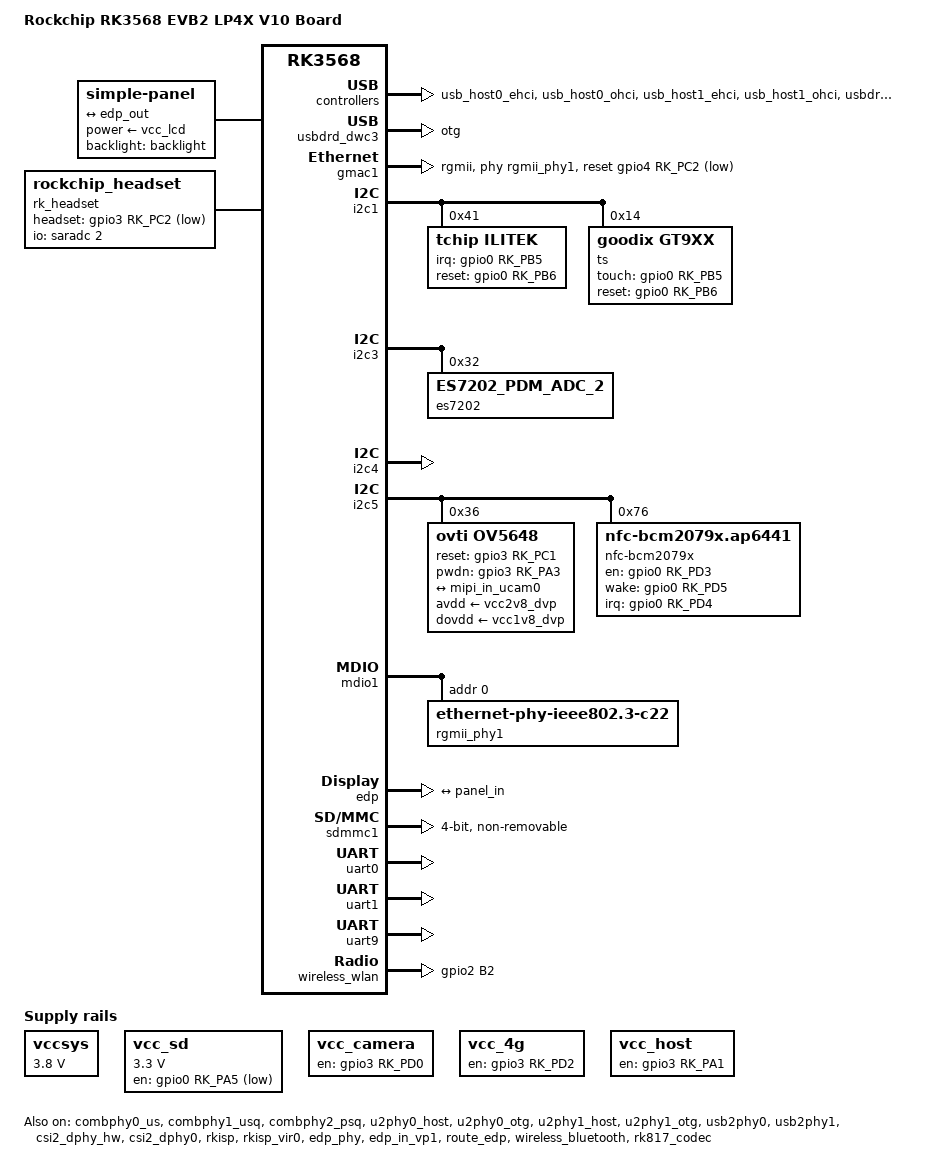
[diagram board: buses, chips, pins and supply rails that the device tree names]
// SPDX-License-Identifier: (GPL-2.0+ OR MIT)
/*
 * Copyright (c) 2020 Rockchip Electronics Co., Ltd.
 *
 */

/dts-v1/;

#include <dt-bindings/gpio/gpio.h>
#include <dt-bindings/pinctrl/rockchip.h>
#include "rk3568.dtsi"
#include "rk3568-evb-r89.dtsi"
#include "rk3568-android.dtsi"

/ {
	model = "Rockchip RK3568 EVB2 LP4X V10 Board";
	compatible = "rockchip,rk3568-evb2-lp4x-v10", "rockchip,rk3568";
	panel: panel {
		compatible = "simple-panel";
		backlight = <&backlight>;
		power-supply = <&vcc_lcd>;
		//enable-gpios = <&gpio3 RK_PD4 GPIO_ACTIVE_HIGH>;
		//pinctrl-names = "default";
		//pinctrl-0 = <&lcd_enable_gpio>;
		
		reset-delay-ms = <60>;
		enable-delay-ms = <120>;
		prepare-delay-ms = <60>;
		unprepare-delay-ms = <60>;
		disable-delay-ms = <60>;
		
		//bpc = <8>;		
		//bus-format = <MEDIA_BUS_FMT_RGB888_1X24>;
		
		bpc = <6>;
		bus-format = <MEDIA_BUS_FMT_RGB666_1X18>;
		
		display-timings {
			native-mode = <&timing3>;
			
			timing0: timing0 {				
				clock-frequency = <138500000>;
				hactive = <1920>;
				vactive = <1080>;
				hfront-porch = <134>;
				hsync-len = <26>;
				hback-porch = <24>;
				vfront-porch = <16>;
				vsync-len = <6>;
				vback-porch = <14>;
				hsync-active = <0>;
				vsync-active = <0>;
				de-active = <0>;
				pixelclk-active = <0>;
			};
		
			//N61 ERWEIMA
			timing1: timing1 {
				clock-frequency = <135000000>;
				hactive = <1920>;
				vactive = <1080>;
				hfront-porch = <160>;
				hsync-len = <10>;
				hback-porch = <160>;
				vfront-porch = <21>;
				vsync-len = <10>;
				vback-porch = <21>;
				hsync-active = <0>;
				vsync-active = <0>;
				de-active = <0>;
				pixelclk-active = <0>;
			};	
				
			timing2: timing2 {																			
				clock-frequency = <148000000>;		
				hactive = <1920>;
				vactive = <1080>;										
				hback-porch = <50>;
				hfront-porch = <134>;
				vback-porch = <20>;
				vfront-porch = <20>;																
				hsync-len = <36>;
				vsync-len = <6>;								
				hsync-active = <0>;
				vsync-active = <0>;
				de-active = <0>;
				pixelclk-active = <0>;
				swap-rb = <0>;
				swap-rg = <0>;
				swap-gb = <0>;								
			};
			
			//NV140FHM-N4F=B140HAN03.9 
			timing3: timing3 {
				clock-frequency = <138000000>;
				hactive = <1920>;
				vactive = <1080>;
				hback-porch = <48>;
				hfront-porch = <210>;
				vback-porch = <20>;
				vfront-porch = <30>;																
				hsync-len = <52>;
				vsync-len = <10>;								
				hsync-active = <0>;
				vsync-active = <0>;

				de-active = <0>;
				pixelclk-active = <0>;
			};
		};

		ports {
			panel_in: endpoint {
				remote-endpoint = <&edp_out>;
			};
		};
	};
	
	rk_headset: rk-headset {
		compatible = "rockchip_headset";
		headset_gpio = <&gpio3 RK_PC2 GPIO_ACTIVE_LOW>;
		pinctrl-names = "default";
		pinctrl-0 = <&hp_det>;
		io-channels = <&saradc 2>;
	};

	/*vcc2v5_sys: vcc2v5-ddr {
		compatible = "regulator-fixed";
		regulator-name = "vcc2v5-sys";
		regulator-always-on;
		regulator-boot-on;
		regulator-min-microvolt = <2500000>;
		regulator-max-microvolt = <2500000>;
		vin-supply = <&vcc3v3_sys>;
	};*/

	/*pcie20_3v3: gpio-regulator {
		compatible = "regulator-gpio";
		regulator-name = "pcie20_3v3";
		regulator-min-microvolt = <100000>;
		regulator-max-microvolt = <3300000>;
		gpios = <&gpio0 RK_PD4 GPIO_ACTIVE_HIGH>;
		gpios-states = <0x1>;
		states = <100000 0x0
			  3300000 0x1>;
	};

	pcie30_avdd0v9: pcie30-avdd0v9 {
		compatible = "regulator-fixed";
		regulator-name = "pcie30_avdd0v9";
		regulator-always-on;
		regulator-boot-on;
		regulator-min-microvolt = <900000>;
		regulator-max-microvolt = <900000>;
		vin-supply = <&vcc3v3_sys>;
	};

	pcie30_avdd1v8: pcie30-avdd1v8 {
		compatible = "regulator-fixed";
		regulator-name = "pcie30_avdd1v8";
		regulator-always-on;
		regulator-boot-on;
		regulator-min-microvolt = <1800000>;
		regulator-max-microvolt = <1800000>;
		vin-supply = <&vcc3v3_sys>;
	};

	pcie30_3v3: gpio-regulator {
		compatible = "regulator-gpio";
		regulator-name = "pcie30_3v3";
		regulator-min-microvolt = <100000>;
		regulator-max-microvolt = <3300000>;
		gpios = <&gpio0 RK_PD4 GPIO_ACTIVE_HIGH>;
		gpios-states = <0x1>;
		states = <100000 0x0
			  3300000 0x1>;
	};*/

	/*vcc3v3_bu: vcc3v3-bu {
		compatible = "regulator-fixed";
		regulator-name = "vcc3v3_bu";
		regulator-always-on;
		regulator-boot-on;
		regulator-min-microvolt = <3300000>;
		regulator-max-microvolt = <3300000>;
		vin-supply = <&vcc5v0_sys>;
	};*/
	
	vccsys: vccsys {
		compatible = "regulator-fixed";
		regulator-name = "vcc3v8_sys";
		regulator-always-on;
		regulator-boot-on;
		regulator-min-microvolt = <3800000>;
		regulator-max-microvolt = <3800000>;
	};
	
	vcc_sd: vcc-sd {
		compatible = "regulator-gpio";
		enable-active-low;
		enable-gpio = <&gpio0 RK_PA5 GPIO_ACTIVE_LOW>;
		regulator-min-microvolt = <3300000>;
		regulator-max-microvolt = <3300000>;
		pinctrl-names = "default";
		pinctrl-0 = <&vcc_sd_h>;
		regulator-name = "vcc_sd";
		states = <3300000 0x0
			3300000 0x1>;
	};
	
	vcc_camera: vcc-camera-regulator {
		compatible = "regulator-fixed";
		gpio = <&gpio3 RK_PD0 GPIO_ACTIVE_HIGH>;
		pinctrl-names = "default";
		pinctrl-0 = <&camera_pwr>;
		regulator-name = "vcc_camera";
		enable-active-high;
		regulator-always-on;
		regulator-boot-on;
	};
	
	vcc_4g: vcc-4g-regulator {
		compatible = "regulator-fixed";
		gpio = <&gpio3 RK_PD2 GPIO_ACTIVE_HIGH>;
		pinctrl-names = "default";
		pinctrl-0 = <&pwr_4g>;
		regulator-name = "vcc_4g";
		enable-active-high;
		regulator-always-on;
		regulator-boot-on;
	};
	
	vcc_host: vcc-host-regulator {
		compatible = "regulator-fixed";
		gpio = <&gpio3 RK_PA1 GPIO_ACTIVE_HIGH>;
		pinctrl-names = "default";
		pinctrl-0 = <&pwr_host>;
		regulator-name = "vcc_host";
		enable-active-high;
		regulator-always-on;
		regulator-boot-on;
	};
};

/* add by rocky USB 3.0 OTG/SATA Combo PHY_0 */
&combphy0_us {
	status = "okay";
};

/* add by rocky USB 3.0 Host/SATA/QSGMII Combo PHY_1 */
&combphy1_usq {
	status = "okay";
};

&combphy2_psq {
	status = "okay";
};

//add by rocky usb2 phy0
&u2phy0_host {
	//phy-supply = <&vcc5v0_host>;
	status = "okay";
};

&u2phy0_otg {
	//vbus-supply = <&vcc5v0_otg>;
	status = "okay";
};

//add by rocky usb2.0 phy1
&u2phy1_host {
	//phy-supply = <&vcc5v0_host>;
	status = "okay";
};

&u2phy1_otg {
	//phy-supply = <&vcc5v0_host>;
	status = "okay";
};

/* add by rocky USB OTG/USB Host_1 USB 2.0 Comb PHY_0 */
&usb2phy0 {
	status = "okay";
};

/* add by rocky USB Host_1/USB Host_2 USB 2.0 Comb PHY_0 */
&usb2phy1 {
	status = "okay";
};

/* add by rocky USB 2.0 Host_2 EHCI controller for high speed */
&usb_host0_ehci {
	status = "okay";
};

/* add by rocky USB 2.0 Host_2 OHCI controller for full/low speed */
&usb_host0_ohci {
	status = "okay";
};

/* add by rocky USB 2.0 Host_3 EHCI controller for high speed */
&usb_host1_ehci {
	status = "okay";
};

/* add by rocky USB 2.0 Host_3 OHCI controller for full/low speed */
&usb_host1_ohci {
	status = "okay";
};

&usbdrd_dwc3 {
	dr_mode = "otg";
	extcon = <&usb2phy0>;
	status = "okay";
};

/* add by rocky USB 3.0 OTG controller */
&usbdrd30 {
	status = "okay";
};

&usbhost_dwc3 {
	status = "okay";
};

/* add by rocky USB 3.0 Host_1 controller */
&usbhost30 {
	status = "okay";
};

/*
 * video_phy0 needs to be enabled
 * when dsi0 is enabled
 */
&dsi0 {
	status = "disabled";
};

&dsi0_in_vp0 {
	status = "disabled";
};

&dsi0_in_vp1 {
	status = "disabled";
};

&dsi0_panel {
	//power-supply = <&vcc3v3_lcd0_n>;
};

&route_dsi0 {
	status = "disabled";
	connect = <&vp1_out_dsi0>;
};
/*
 * video_phy1 needs to be enabled
 * when dsi1 is enabled
 */
&dsi1 {
	status = "disabled";
};

&dsi1_in_vp0 {
	status = "disabled";
};

&dsi1_in_vp1 {
	status = "disabled";
};

&dsi1_panel {
	//power-supply = <&vcc3v3_lcd1_n>;
};

&backlight {
		pwms = <&pwm4 0 2000000 0>;
		enable-gpios = <&gpio0 RK_PC6 GPIO_ACTIVE_HIGH>;
		pinctrl-names = "default";
		pinctrl-0 = <&bl_en>;
};

#if 0
&gmac0 {
	phy-mode = "rgmii";
	clock_in_out = "output";

	snps,reset-gpio = <&gpio2 RK_PD3 GPIO_ACTIVE_LOW>;
	snps,reset-active-low;
	/* Reset time is 20ms, 100ms for rtl8211f */
	snps,reset-delays-us = <0 20000 100000>;

	assigned-clocks = <&cru SCLK_GMAC0_RX_TX>, <&cru SCLK_GMAC0>;
	assigned-clock-parents = <&cru SCLK_GMAC0_RGMII_SPEED>, <&cru CLK_MAC0_2TOP>;
	assigned-clock-rates = <0>, <125000000>;

	pinctrl-names = "default";
	pinctrl-0 = <&gmac0_miim
		     &gmac0_tx_bus2
		     &gmac0_rx_bus2
		     &gmac0_rgmii_clk
		     &gmac0_rgmii_bus>;

	tx_delay = <0x3c>;
	rx_delay = <0x2f>;

	phy-handle = <&rgmii_phy0>;
	status = "disabled";
};
#endif

&gmac1 {
	phy-mode = "rgmii";
	clock_in_out = "output";//rk3566 provide
	//clock_in_out = "input";//phy provide

	snps,reset-gpio = <&gpio4 RK_PC2 GPIO_ACTIVE_LOW>;
	snps,reset-active-low;
	/* Reset time is 20ms, 100ms for rtl8211f */
	snps,reset-delays-us = <0 20000 100000>;

	assigned-clocks = <&cru SCLK_GMAC1_RX_TX>, <&cru SCLK_GMAC1>;
	assigned-clock-parents = <&cru SCLK_GMAC1_RGMII_SPEED>, <&cru CLK_MAC1_2TOP>;//rk3566 provide
	//assigned-clock-parents = <&cru SCLK_GMAC1_RGMII_SPEED>, <&cru CLK_MAC1_2TOP>, <&gmac1_clkin>;//phy provide
	assigned-clock-rates = <0>, <125000000>;

	pinctrl-names = "default";
	#if 1//1-rk3566 provide   0-phy provide
	pinctrl-0 = <&gmac1m1_miim
		     &gmac1m1_tx_bus2_level3
		     &gmac1m1_rx_bus2
		     &gmac1m1_rgmii_clk_level2
		     &gmac1m1_rgmii_bus_level3>;
	#else
	pinctrl-0 = <&gmac1m0_miim
		     &gmac1m0_tx_bus2_level3
		     &gmac1m0_rx_bus2
		     &gmac1m0_rgmii_clk_level2
		     &gmac1m0_rgmii_bus_level3
			 &gmac1m0_clkinout>;
	#endif
	
	tx_delay = <0x2f>;//rk3566 provide
	rx_delay = <0x1f>;//rk3566 provide
	//tx_delay = <0x3b>;//phy provide
	//rx_delay = <0x1f>;//phy provide

	phy-handle = <&rgmii_phy1>;
	status = "okay";
};

/*
 * power-supply should switche to vcc3v3_lcd1_n
 * when mipi panel is connected to dsi1.
 */
/*&gt1x {
	power-supply = <&vcc3v3_lcd0_n>;
};*/
&i2c1 {
	status = "okay";
	
	ilitek@41 {
		status = "okay";
		compatible = "tchip,ilitek";
		reg = <0x41>;
		ilitek,irq-gpio = <&gpio0 RK_PB5 IRQ_TYPE_LEVEL_LOW>;
		ilitek,reset-gpio = <&gpio0 RK_PB6 GPIO_ACTIVE_HIGH>;	    
	};
	
	ts@14 {
		compatible = "goodix,gt9xx";
		reg = <0x14>;
		pinctrl-names = "default";
		pinctrl-0 = <&touch_gpio>;
		touch-gpio = <&gpio0 RK_PB5 IRQ_TYPE_LEVEL_LOW>;
		reset-gpio = <&gpio0 RK_PB6 GPIO_ACTIVE_HIGH>;
		//power-gpio = <&gpio0 GPIO_C5 GPIO_ACTIVE_LOW>;
		max-x = <1280>;
		max-y = <800>;
		//tp-size = <101>;
		tp-size = <89>;
		//tp-supply = <&pmic_vcc_tp_33>;
		status = "okay";
    };
	
};

&i2c3 {
	status = "okay";
	es7202: es7202@32 {
		status = "okay";
		#sound-dai-cells = <0>;
		compatible = "ES7202_PDM_ADC_2";
		reg = <0x32>;
	};
};
&i2c4 {
	status = "okay";

	gs_mxc6655xa: gs_mxc6655xa@15 {
		status = "disabled";
		compatible = "gs_mxc6655xa";
		pinctrl-names = "default";
		pinctrl-0 = <&mxc6655xa_irq_gpio>;
		reg = <0x15>;
		irq-gpio = <&gpio3 RK_PD7 IRQ_TYPE_LEVEL_LOW>;
		irq_enable = <0>;
		poll_delay_ms = <30>;
		type = <SENSOR_TYPE_ACCEL>;
		power-off-in-suspend = <1>;
		layout = <1>;
	};
};

&i2c5 {
	status = "okay";
	ov5648: ov5648@36 {
		compatible = "ovti,ov5648";
		status = "okay";
		reg = <0x36>;
		//clocks = <&cru CLK_CAM0_OUT>;
		clocks = <&cru CLK_CIF_OUT>;//rocky
		clock-names = "xvclk";
		power-domains = <&power RK3568_PD_VI>;//rocky
		/* avdd-supply = <>; */
		/* dvdd-supply = <>; */
		/* dovdd-supply = <>; */
		/* reset-gpios = <>; */
		avdd-supply = <&vcc2v8_dvp>;
		dovdd-supply = <&vcc1v8_dvp>;
		//power-gpios = <&gpio0 RK_PD4 GPIO_ACTIVE_HIGH>;
		reset-gpios = <&gpio3 RK_PC1 GPIO_ACTIVE_HIGH>;
        pwdn-gpios = <&gpio3 RK_PA3 GPIO_ACTIVE_HIGH>;
		pinctrl-names = "rockchip,camera_default", "rockchip,camera_sleep";
		//pinctrl-0 = <&cam_clkout0>;
		//pinctrl-1 = <&cam_sleep>;
		pinctrl-0 = <&cif_clk>;
		pinctrl-1 = <&cam_sleep_2>;
		rockchip,camera-module-index = <0>;
		rockchip,camera-module-facing = "front";
		rockchip,camera-module-name = "default";
		rockchip,camera-module-lens-name = "default";                
		port {
				ov5648_out: endpoint {
						remote-endpoint = <&mipi_in_ucam0>;
						//remote-endpoint = <&mipi_in_ucam1>;
						data-lanes = <1 2>;
				};
		};
    };
	nfc-bcm2079x@76 {
		compatible = "nfc-bcm2079x.ap6441";
		reg = <0x76>;
		//pw_gpio = <&gpio7 16 GPIO_ACTIVE_HIGH>;
		en_gpio = <&gpio0 RK_PD3 GPIO_ACTIVE_HIGH>;
		wake_gpio = <&gpio0 RK_PD5 GPIO_ACTIVE_HIGH>;
		irq_gpio = <&gpio0 RK_PD4 IRQ_TYPE_EDGE_RISING>;
		status = "okay";
    };
};

&csi2_dphy_hw {
	status = "okay";
};
&csi2_dphy0 {
	status = "okay";
	ports {
		#address-cells = <1>;
		#size-cells = <0>;
		port@0 {
			reg = <0>;
			#address-cells = <1>;
			#size-cells = <0>;
			mipi_in_ucam0: endpoint@0 {
				reg = <0>;
				remote-endpoint = <&ov5648_out>;
				data-lanes = <1 2>;
			};
		};
		port@1 {
			reg = <1>;
			#address-cells = <1>;
			#size-cells = <0>;
			csidphy0_out: endpoint@0 {
				reg = <0>;
				remote-endpoint = <&isp0_in>;
			};
		};
	};
};
&rkisp {
	status = "okay";
};
&rkisp_mmu {
	status = "okay";
};
&rkisp_vir0 {
	status = "okay";
	port {
		#address-cells = <1>;
		#size-cells = <0>;
		isp0_in: endpoint@0 {
			reg = <0>;
			remote-endpoint = <&csidphy0_out>;
		};
	};
};
/*&mdio0 {
	rgmii_phy0: phy@0 {
		compatible = "ethernet-phy-ieee802.3-c22";
		reg = <0x0>;
	};
};*/

&mdio1 {
	rgmii_phy1: phy@0 {
		compatible = "ethernet-phy-ieee802.3-c22";
		reg = <0x0>;
	};
};

&video_phy0 {
	status = "disabled";
};

&video_phy1 {
	status = "disabled";
};

/*&pcie2x1 {
	reset-gpios = <&gpio1 RK_PB2 GPIO_ACTIVE_HIGH>;
	vpcie3v3-supply = <&pcie20_3v3>;
	status = "okay";
};

&pcie30phy {
	status = "okay";
};

&pcie3x2 {
	reset-gpios = <&gpio0 RK_PC6 GPIO_ACTIVE_HIGH>;
	vpcie3v3-supply = <&pcie30_3v3>;
	status = "okay";
};*/

&pinctrl {
	headphone {
		hp_det: hp-det {
			rockchip,pins = <3 RK_PC2 RK_FUNC_GPIO &pcfg_pull_down>;
		};
	};

	mxc6655xa {
		mxc6655xa_irq_gpio: mxc6655xa_irq_gpio {
			rockchip,pins = <3 RK_PD7 RK_FUNC_GPIO &pcfg_pull_none>;
		};
	};

	sii902x {
		sii902x_hdmi_int: sii902x-hdmi-int {
			rockchip,pins = <3 RK_PA0 RK_FUNC_GPIO &pcfg_pull_up>;
		};
	};

	sdio-pwrseq {
		wifi_enable_h: wifi-enable-h {
			rockchip,pins = <2 RK_PB1 RK_FUNC_GPIO &pcfg_pull_none>;
		};

		wifi_32k: wifi-32k {
			rockchip,pins = <2 RK_PC6 1 &pcfg_pull_none>;
		};
	};

	wireless-wlan {
		wifi_host_wake_irq: wifi-host-wake-irq {
			rockchip,pins = <2 RK_PB2 RK_FUNC_GPIO &pcfg_pull_down>;
		};
	};

	wireless-bluetooth {
		uart1_gpios: uart1-gpios {
			rockchip,pins = <2 RK_PB5 RK_FUNC_GPIO &pcfg_pull_none>;
		};
	};
	
	vcc_sd {
		vcc_sd_h: vcc-sd-h {
			rockchip,pins = <0 RK_PA5 RK_FUNC_GPIO &pcfg_pull_none>;
		};
	};
	
	bl_ctrl {
		bl_en: bl-en {
			rockchip,pins = <0 RK_PC6 RK_FUNC_GPIO &pcfg_pull_none>;
		};
	};
	
	lcd {
		/*lcd_rst_gpio: lcd-rst-gpio {
			rockchip,pins = <0 RK_PC6 RK_FUNC_GPIO &pcfg_pull_none>;
		};*/

		lcd_enable_gpio: lcd-enable-gpio {
			rockchip,pins = <3 RK_PD4 RK_FUNC_GPIO &pcfg_pull_none>;
		};
	};
	
	usb {
		camera_pwr: camera-pwr {
			rockchip,pins =
				<3 RK_PD0 RK_FUNC_GPIO &pcfg_pull_none>;
		};
		
		pwr_4g: pwr-4g {
			rockchip,pins =
				<3 RK_PD2 RK_FUNC_GPIO &pcfg_pull_none>;
		};
		
		pwr_host: pwr-host {
			rockchip,pins =
				<3 RK_PA1 RK_FUNC_GPIO &pcfg_pull_none>;
		};
	};
	cam {
		cam_clkout0: cam-clkout0 {
			rockchip,pins =
				/* cam_clkout0 */
				<4 RK_PA7 1 &pcfg_pull_none>;
		};
		cam_sleep: cam-sleep {
			rockchip,pins =
				/* cam_sleep */
				<4 RK_PA7 RK_FUNC_GPIO &pcfg_pull_none>;
		};
		cam_sleep_2: cam-sleep-2 {
			rockchip,pins =
				/* cam_sleep */
				<4 RK_PC0 RK_FUNC_GPIO &pcfg_pull_none>;
		};
	};
};

/*&pmu_io_domains {
	vccio6-supply = <&vcc_3v3>;
};*/

&pwm3 {
	status = "disabled";

	compatible = "rockchip,remotectl-pwm";
	remote_pwm_id = <3>;
	handle_cpu_id = <1>;
	remote_support_psci = <0>;
	pinctrl-names = "default";
	pinctrl-0 = <&pwm3_pins>;

	ir_key1 {
		rockchip,usercode = <0x4040>;
		rockchip,key_table =
			<0xf2	KEY_REPLY>,
			<0xba	KEY_BACK>,
			<0xf4	KEY_UP>,
			<0xf1	KEY_DOWN>,
			<0xef	KEY_LEFT>,
			<0xee	KEY_RIGHT>,
			<0xbd	KEY_HOME>,
			<0xea	KEY_VOLUMEUP>,
			<0xe3	KEY_VOLUMEDOWN>,
			<0xe2	KEY_SEARCH>,
			<0xb2	KEY_POWER>,
			<0xbc	KEY_MUTE>,
			<0xec	KEY_MENU>,
			<0xbf	0x190>,
			<0xe0	0x191>,
			<0xe1	0x192>,
			<0xe9	183>,
			<0xe6	248>,
			<0xe8	185>,
			<0xe7	186>,
			<0xf0	388>,
			<0xbe	0x175>;
	};

	ir_key2 {
		rockchip,usercode = <0xff00>;
		rockchip,key_table =
			<0xf9	KEY_HOME>,
			<0xbf	KEY_BACK>,
			<0xfb	KEY_MENU>,
			<0xaa	KEY_REPLY>,
			<0xb9	KEY_UP>,
			<0xe9	KEY_DOWN>,
			<0xb8	KEY_LEFT>,
			<0xea	KEY_RIGHT>,
			<0xeb	KEY_VOLUMEDOWN>,
			<0xef	KEY_VOLUMEUP>,
			<0xf7	KEY_MUTE>,
			<0xe7	KEY_POWER>,
			<0xfc	KEY_POWER>,
			<0xa9	KEY_VOLUMEDOWN>,
			<0xa8	KEY_VOLUMEDOWN>,
			<0xe0	KEY_VOLUMEDOWN>,
			<0xa5	KEY_VOLUMEDOWN>,
			<0xab	183>,
			<0xb7	388>,
			<0xe8	388>,
			<0xf8	184>,
			<0xaf	185>,
			<0xed	KEY_VOLUMEDOWN>,
			<0xee	186>,
			<0xb3	KEY_VOLUMEDOWN>,
			<0xf1	KEY_VOLUMEDOWN>,
			<0xf2	KEY_VOLUMEDOWN>,
			<0xf3	KEY_SEARCH>,
			<0xb4	KEY_VOLUMEDOWN>,
			<0xbe	KEY_SEARCH>;
	};

	ir_key3 {
		rockchip,usercode = <0x1dcc>;
		rockchip,key_table =
			<0xee	KEY_REPLY>,
			<0xf0	KEY_BACK>,
			<0xf8	KEY_UP>,
			<0xbb	KEY_DOWN>,
			<0xef	KEY_LEFT>,
			<0xed	KEY_RIGHT>,
			<0xfc	KEY_HOME>,
			<0xf1	KEY_VOLUMEUP>,
			<0xfd	KEY_VOLUMEDOWN>,
			<0xb7	KEY_SEARCH>,
			<0xff	KEY_POWER>,
			<0xf3	KEY_MUTE>,
			<0xbf	KEY_MENU>,
			<0xf9	0x191>,
			<0xf5	0x192>,
			<0xb3	388>,
			<0xbe	KEY_1>,
			<0xba	KEY_2>,
			<0xb2	KEY_3>,
			<0xbd	KEY_4>,
			<0xf9	KEY_5>,
			<0xb1	KEY_6>,
			<0xfc	KEY_7>,
			<0xf8	KEY_8>,
			<0xb0	KEY_9>,
			<0xb6	KEY_0>,
			<0xb5	KEY_BACKSPACE>;
	};
};

&pwm7 {
	status = "disabled";
};


&edp {
	status = "okay";
	force-hpd;
	//hpd-gpios = <&gpio4 RK_PC4 GPIO_ACTIVE_HIGH>;

	ports {
		port@1 {
			reg = <1>;			
			#address-cells = <1>;
			#size-cells = <0>;

			edp_out: endpoint@0 {
				reg = <0>;
				remote-endpoint = <&panel_in>;
			};
		};
	};
};

&edp_phy {
	status = "okay";
};

&edp_in_vp1 {
	status = "okay";
};

&edp_in_vp0 {
	status = "disabled";
};

&route_edp {
	status = "okay";
	connect = <&vp1_out_edp>;
};

&sdio_pwrseq {
	clocks = <&pmucru CLK_RTC_32K>;
	pinctrl-0 = <&wifi_enable_h &wifi_32k>;

	/*
	 * On the module itself this is one of these (depending
	 * on the actual card populated):
	 * - SDIO_RESET_L_WL_REG_ON
	 * - PDN (power down when low)
	 */
	reset-gpios = <&gpio2 RK_PB1 GPIO_ACTIVE_LOW>;
};

&sdmmc1 {
	max-frequency = <150000000>;
	supports-sdio;
	bus-width = <4>;
	disable-wp;
	cap-sd-highspeed;
	cap-sdio-irq;
	keep-power-in-suspend;
	mmc-pwrseq = <&sdio_pwrseq>;
	non-removable;
	pinctrl-names = "default";
	pinctrl-0 = <&sdmmc1_bus4 &sdmmc1_cmd &sdmmc1_clk>;
	sd-uhs-sdr104;
	status = "okay";
};

&sdmmc2 {
	status = "disabled";
};

&uart0 {
	status = "okay";
};

&uart1 {
	status = "okay";
	pinctrl-names = "default";
	pinctrl-0 = <&uart1m0_xfer &uart1m0_ctsn>;
};

&uart9 {
	status = "okay";
	pinctrl-names = "default";
	pinctrl-0 = <&uart9m1_xfer>;
};

/*&vcc3v3_lcd0_n {
	gpio = <&gpio0 RK_PC7 GPIO_ACTIVE_HIGH>;
	enable-active-high;
};

&vcc3v3_lcd1_n {
	gpio = <&gpio0 RK_PC5 GPIO_ACTIVE_HIGH>;
	enable-active-high;
};*/

&wireless_wlan {
	pinctrl-names = "default";
	pinctrl-0 = <&wifi_host_wake_irq>;
	WIFI,host_wake_irq = <&gpio2 RK_PB2 GPIO_ACTIVE_HIGH>;
};

&wireless_bluetooth {
	compatible = "bluetooth-platdata";
	clocks = <&pmucru CLK_RTC_32K>;
	clock-names = "ext_clock";
	//wifi-bt-power-toggle;
	uart_rts_gpios = <&gpio2 RK_PB5 GPIO_ACTIVE_LOW>;
	pinctrl-names = "default", "rts_gpio";
	pinctrl-0 = <&uart1m0_rtsn>;
	pinctrl-1 = <&uart1_gpios>;
	BT,reset_gpio    = <&gpio2 RK_PB7 GPIO_ACTIVE_HIGH>;
	BT,wake_gpio     = <&gpio2 RK_PC1 GPIO_ACTIVE_HIGH>;
	BT,wake_host_irq = <&gpio2 RK_PC0 GPIO_ACTIVE_HIGH>;
	status = "okay";
};

/*============note===========*/
/*
WL1028 WL1058 WL1418 WF1528:4o-3w=10
WL1018:8o-1w=16
*/
&rk817_codec {
	spk-volume = <10>;//8-2.23W 10-2W (4o-3w)//10-1.29w 14-0.93w 16-0.78w(8o-1w)
	status = "okay";
};

/*
8821CS AP6255 AP6256:vcc_1v8
8723DS AP6212:vcc_3v3
*/
&pmu_io_domains {
	vccio4-supply = <&vcc_3v3>;
};
/*============note===========*/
